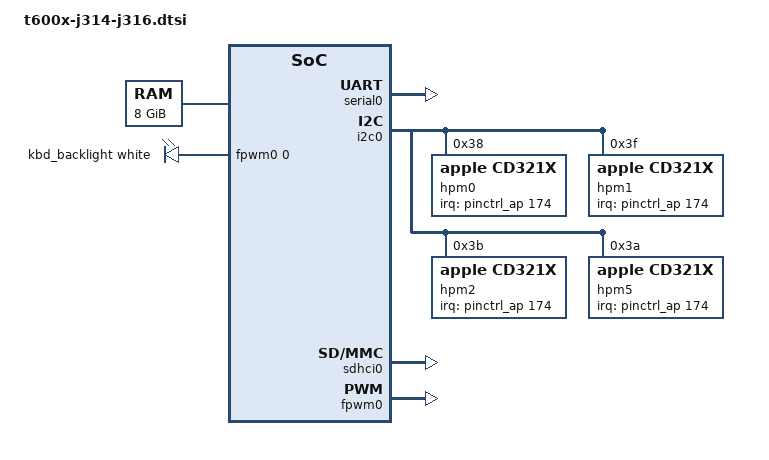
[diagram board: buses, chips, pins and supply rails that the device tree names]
// SPDX-License-Identifier: GPL-2.0+ OR MIT
/*
 * MacBook Pro (14/16-inch, 2021)
 *
 * This file contains the parts common to J314 and J316 devices with both t6000 and t6001.
 *
 * target-type: J314s / J314c / J316s / J316c
 *
 * Copyright The Asahi Linux Contributors
 */

#include <dt-bindings/leds/common.h>

/ {
	aliases {
		serial0 = &serial0;
		wifi0 = &wifi0;
	};

	chosen {
		#address-cells = <2>;
		#size-cells = <2>;
		ranges;

		stdout-path = "serial0";

		framebuffer0: framebuffer@0 {
			compatible = "apple,simple-framebuffer", "simple-framebuffer";
			reg = <0 0 0 0>; /* To be filled by loader */
			/* Format properties will be added by loader */
			status = "disabled";
		};
	};

	memory@10000000000 {
		device_type = "memory";
		reg = <0x100 0 0x2 0>; /* To be filled by loader */
	};

	led-controller {
		compatible = "pwm-leds";
		led-0 {
			pwms = <&fpwm0 0 40000>;
			label = "kbd_backlight";
			function = LED_FUNCTION_KBD_BACKLIGHT;
			color = <LED_COLOR_ID_WHITE>;
			max-brightness = <255>;
			default-state = "keep";
		};
	};
};

&serial0 {
	status = "okay";
};

/* USB Type C */
&i2c0 {
	hpm0: usb-pd@38 {
		compatible = "apple,cd321x";
		reg = <0x38>;
		interrupt-parent = <&pinctrl_ap>;
		interrupts = <174 IRQ_TYPE_LEVEL_LOW>;
		interrupt-names = "irq";
	};

	hpm1: usb-pd@3f {
		compatible = "apple,cd321x";
		reg = <0x3f>;
		interrupt-parent = <&pinctrl_ap>;
		interrupts = <174 IRQ_TYPE_LEVEL_LOW>;
		interrupt-names = "irq";
	};

	hpm2: usb-pd@3b {
		compatible = "apple,cd321x";
		reg = <0x3b>;
		interrupt-parent = <&pinctrl_ap>;
		interrupts = <174 IRQ_TYPE_LEVEL_LOW>;
		interrupt-names = "irq";
	};

	/* MagSafe port */
	hpm5: usb-pd@3a {
		compatible = "apple,cd321x";
		reg = <0x3a>;
		interrupt-parent = <&pinctrl_ap>;
		interrupts = <174 IRQ_TYPE_LEVEL_LOW>;
		interrupt-names = "irq";
	};
};

&nco_clkref {
	clock-frequency = <1068000000>;
};

/* PCIe devices */
&port00 {
	/* WLAN */
	bus-range = <1 1>;
	wifi0: wifi@0,0 {
		reg = <0x10000 0x0 0x0 0x0 0x0>;
		/* To be filled by the loader */
		local-mac-address = [00 10 18 00 00 10];
	};
};

&port01 {
	/* SD card reader */
	bus-range = <2 2>;
	sdhci0: mmc@0,0 {
		compatible = "pci17a0,9755";
		reg = <0x20000 0x0 0x0 0x0 0x0>;
		cd-inverted;
		wp-inverted;
	};
};

&fpwm0 {
	status = "okay";
};
